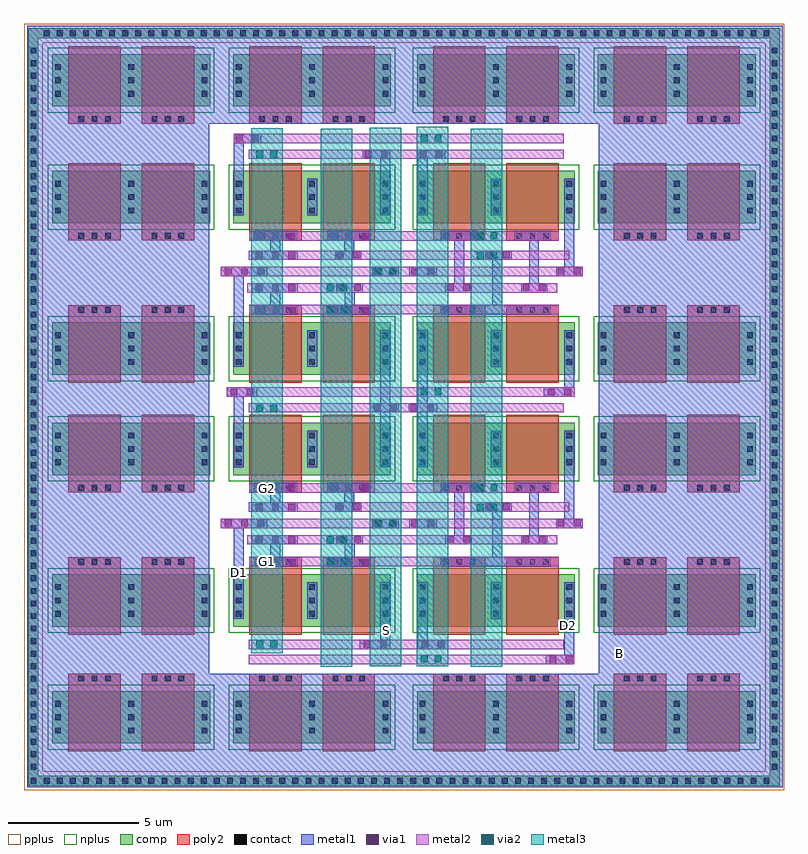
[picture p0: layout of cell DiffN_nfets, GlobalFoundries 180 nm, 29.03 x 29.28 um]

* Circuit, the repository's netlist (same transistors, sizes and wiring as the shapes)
** sch_path: /home/gmaranhao/Desktop/Bracolin/TIA_Filter/PseudoResistor/DiffN_nfets.sch
.subckt DiffN_nfets D1 D2 G1 G2 S B
*.PININFO D1:B D2:B G1:B G2:B S:B B:B
M1 D1 G1 net1 B nfet_03v3 L=2u W=2u nf=1 m=1
M2 D2 G2 net5 B nfet_03v3 L=2u W=2u nf=1 m=1
M3 D1 G1 net2 B nfet_03v3 L=2u W=2u nf=1 m=1
M4 D1 G1 net3 B nfet_03v3 L=2u W=2u nf=1 m=1
M5 D1 G1 net4 B nfet_03v3 L=2u W=2u nf=1 m=1
M6 net1 G1 S B nfet_03v3 L=2u W=2u nf=1 m=1
M7 net2 G1 S B nfet_03v3 L=2u W=2u nf=1 m=1
M8 net3 G1 S B nfet_03v3 L=2u W=2u nf=1 m=1
M9 net4 G1 S B nfet_03v3 L=2u W=2u nf=1 m=1
M10 D2 G2 net6 B nfet_03v3 L=2u W=2u nf=1 m=1
M11 D2 G2 net7 B nfet_03v3 L=2u W=2u nf=1 m=1
M12 D2 G2 net8 B nfet_03v3 L=2u W=2u nf=1 m=1
M13 net5 G2 S B nfet_03v3 L=2u W=2u nf=1 m=1
M14 net6 G2 S B nfet_03v3 L=2u W=2u nf=1 m=1
M15 net7 G2 S B nfet_03v3 L=2u W=2u nf=1 m=1
M16 net8 G2 S B nfet_03v3 L=2u W=2u nf=1 m=1
M17[1] B B B B nfet_03v3 L=2u W=2u nf=1 m=1
M17[2] B B B B nfet_03v3 L=2u W=2u nf=1 m=1
M17[3] B B B B nfet_03v3 L=2u W=2u nf=1 m=1
M17[4] B B B B nfet_03v3 L=2u W=2u nf=1 m=1
M17[5] B B B B nfet_03v3 L=2u W=2u nf=1 m=1
M17[6] B B B B nfet_03v3 L=2u W=2u nf=1 m=1
M17[7] B B B B nfet_03v3 L=2u W=2u nf=1 m=1
M17[8] B B B B nfet_03v3 L=2u W=2u nf=1 m=1
M17[9] B B B B nfet_03v3 L=2u W=2u nf=1 m=1
M17[10] B B B B nfet_03v3 L=2u W=2u nf=1 m=1
M17[11] B B B B nfet_03v3 L=2u W=2u nf=1 m=1
M17[12] B B B B nfet_03v3 L=2u W=2u nf=1 m=1
M17[13] B B B B nfet_03v3 L=2u W=2u nf=1 m=1
M17[14] B B B B nfet_03v3 L=2u W=2u nf=1 m=1
M17[15] B B B B nfet_03v3 L=2u W=2u nf=1 m=1
M17[16] B B B B nfet_03v3 L=2u W=2u nf=1 m=1
M17[17] B B B B nfet_03v3 L=2u W=2u nf=1 m=1
M17[18] B B B B nfet_03v3 L=2u W=2u nf=1 m=1
M17[19] B B B B nfet_03v3 L=2u W=2u nf=1 m=1
M17[20] B B B B nfet_03v3 L=2u W=2u nf=1 m=1
M17[21] B B B B nfet_03v3 L=2u W=2u nf=1 m=1
M17[22] B B B B nfet_03v3 L=2u W=2u nf=1 m=1
M17[23] B B B B nfet_03v3 L=2u W=2u nf=1 m=1
M17[24] B B B B nfet_03v3 L=2u W=2u nf=1 m=1
M17[25] B B B B nfet_03v3 L=2u W=2u nf=1 m=1
M17[26] B B B B nfet_03v3 L=2u W=2u nf=1 m=1
M17[27] B B B B nfet_03v3 L=2u W=2u nf=1 m=1
M17[28] B B B B nfet_03v3 L=2u W=2u nf=1 m=1
M17[29] B B B B nfet_03v3 L=2u W=2u nf=1 m=1
M17[30] B B B B nfet_03v3 L=2u W=2u nf=1 m=1
M17[31] B B B B nfet_03v3 L=2u W=2u nf=1 m=1
M17[32] B B B B nfet_03v3 L=2u W=2u nf=1 m=1
.ends
.end

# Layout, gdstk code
import gdstk
lib = gdstk.Library(unit=1e-6, precision=1e-09)
def R(c, l, rs):  # rectangles x0, y0, x1, y1
    for r in rs: c.add(gdstk.rectangle(r[:2], r[2:], *l))
def A(c, l, x, y, w, h, nx, ny, dx, dy):  # array of equal rectangles
    R(c, l, [(x+i*dx, y+j*dy, x+i*dx+w, y+j*dy+h) for i in range(nx) for j in range(ny)])
comp = (22, 0)
poly2 = (30, 0)
pplus = (31, 0)
nplus = (32, 0)
contact = (33, 0)
metal1 = (34, 0)
via1 = (35, 0)
metal2 = (36, 0)
via2 = (38, 0)
metal3 = (42, 0)

nfet = lib.new_cell('nfet')
R(nfet, comp, [(-0.42,0,0,2), (0,0,2.38,2), (2.38,0,2.8,2)])
R(nfet, poly2, [(0.19,-0.3,2.19,2.3), (0.19,2.3,2.19,2.66)])
R(nfet, nplus, [(-0.59,-0.24,2.97,2.24)])
A(nfet, contact, -0.32, 0.38, 0.22, 0.22, 1, 3, 0, 0.51)
A(nfet, contact, 2.48, 0.38, 0.22, 0.22, 1, 3, 0, 0.51)
A(nfet, contact, 0.57, 2.37, 0.22, 0.22, 3, 1, 0.51, 0)
R(nfet, metal1, [(-0.4,0.3,-0.02,1.7), (2.4,0.3,2.78,1.7), (0.49,2.29,1.89,2.67)])

diffn_nfets = lib.new_cell('DiffN_nfets')
R(diffn_nfets, comp, [(-8.285,-6.28,20.405,-5.9), (-8.285,-5.9,-7.905,22.66), (20.025,-5.9,20.405,22.66), (-8.285,22.28,20.405,22.66)])
R(diffn_nfets, pplus, [(-8.455,-6.45,20.575,-5.73), (-8.455,-6.075,-7.735,22.83), (19.855,-6.075,20.575,22.83), (-8.455,22.11,20.575,22.83)])
A(diffn_nfets, contact, -8.2, -6.2, 0.22, 0.22, 57, 1, 0.5, 0)
A(diffn_nfets, contact, -8.205, -5.665, 0.22, 0.22, 1, 58, 0, 0.48)
A(diffn_nfets, contact, 20.105, -5.665, 0.22, 0.22, 1, 58, 0, 0.48)
A(diffn_nfets, contact, -7.7, 22.36, 0.22, 0.22, 56, 1, 0.5, 0)
R(diffn_nfets, contact, [(-8.205,21.695,-7.985,21.915)])
R(diffn_nfets, metal1, [(-8.325,-6.335,-1.37,22.75), (-1.765,-6.335,20.535,-1.99), (13.49,-4.36,20.535,21.37), (11.465,-1.63,12.56,-1.275), (12.18,-1.565,12.56,0.58), (4.37,-1.055,5.54,-0.7), (6.58,-1.055,7.75,-0.7), (5.16,-1.04,5.54,1.105), (6.58,-0.995,6.96,0.705), (-0.44,1.48,-0.06,3.805), (0.36,2.09,2.01,2.47), (0.96,2.09,1.34,3.185), (3.135,2.09,4.785,2.47), (3.795,2.09,4.175,3.295), (8.795,2.09,10.705,2.47), (9.43,2.125,9.81,4.265), (0.245,2.94,2.01,3.295), (3.475,2.94,4.485,3.295), (3.475,2.94,4.485,3.295), (3.475,2.94,4.485,3.295), (7.645,2.94,8.655,3.295), (7.645,2.94,8.655,3.295), (7.645,2.94,8.655,3.295), (10.53,2.94,11.54,3.295), (10.53,2.94,11.54,3.295), (10.53,2.94,11.54,3.295), (7.975,3.155,8.355,5.295), (10.835,3.24,11.215,5.3), (-0.935,3.565,0.83,3.92), (4.85,3.565,5.86,3.92), (4.85,3.565,5.86,3.92), (4.85,3.565,5.86,3.92), (6.26,3.565,7.32,3.92), (11.87,3.565,12.88,3.92), (11.87,3.565,12.88,3.92), (11.87,3.565,12.88,3.92), (12.18,3.87,12.56,6.195), (12.18,3.87,12.56,6.195), (0.245,4.19,2.01,4.545), (3.425,4.19,4.435,4.545), (3.425,4.19,4.435,4.545), (3.425,4.19,4.435,4.545), (9.16,4.19,10.17,4.545), (9.16,4.19,10.17,4.545), (9.16,4.19,10.17,4.545), (0.96,4.195,1.34,5.29), (3.78,4.195,4.16,5.29), (0.33,4.92,1.98,5.3), (3.135,4.92,4.785,5.3), (-0.44,7.25,-0.06,8.905), (5.16,7.265,5.54,8.3), (6.58,7.265,6.96,9.79), (4.75,7.98,5.865,8.335), (6.25,7.98,7.335,8.335), (5.16,8.275,5.54,9.82), (-0.715,8.585,0.455,8.94), (11.405,8.585,12.575,8.94), (12.18,8.595,12.56,9.825), (-0.44,11.1,-0.06,13.425), (0.36,11.71,2.01,12.09), (0.96,11.71,1.34,12.805), (3.135,11.71,4.785,12.09), (3.795,11.71,4.175,12.915), (8.795,11.71,10.705,12.09), (9.43,11.745,9.81,13.885), (0.245,12.56,2.01,12.915), (3.475,12.56,4.485,12.915), (3.475,12.56,4.485,12.915), (3.475,12.56,4.485,12.915), (7.645,12.56,8.655,12.915), (7.645,12.56,8.655,12.915), (7.645,12.56,8.655,12.915), (10.53,12.56,11.54,12.915), (10.53,12.56,11.54,12.915), (10.53,12.56,11.54,12.915), (7.975,12.775,8.355,14.915), (10.835,12.86,11.215,14.92), (-0.935,13.185,0.83,13.54), (4.85,13.185,5.86,13.54), (4.85,13.185,5.86,13.54), (4.85,13.185,5.86,13.54), (6.26,13.185,7.32,13.54), (11.87,13.185,12.88,13.54), (11.87,13.185,12.88,13.54), (11.87,13.185,12.88,13.54), (12.18,13.49,12.56,15.815), (12.18,13.49,12.56,15.815), (0.245,13.81,2.01,14.165), (3.425,13.81,4.435,14.165), (3.425,13.81,4.435,14.165), (3.425,13.81,4.435,14.165), (9.16,13.81,10.17,14.165), (9.16,13.81,10.17,14.165), (9.16,13.81,10.17,14.165), (0.96,13.815,1.34,14.91), (3.78,13.815,4.16,14.91), (0.33,14.54,1.98,14.92), (3.135,14.54,4.785,14.92), (-0.44,16.88,-0.06,18.39), (5.16,16.88,5.54,17.865), (6.58,16.88,6.96,17.865), (4.485,17.665,5.54,18.02), (6.58,17.665,7.635,18.02), (-0.44,18.27,0.615,18.625), (-1.765,19,20.535,22.75)])
R(diffn_nfets, via1, [(11.62,-1.58,11.88,-1.32), (11.62,-1.58,11.88,-1.32), (11.62,-1.58,11.88,-1.32), (11.62,-1.58,11.88,-1.32), (11.62,-1.58,11.88,-1.32), (11.62,-1.58,11.88,-1.32), (11.62,-1.58,11.88,-1.32), (11.62,-1.58,11.88,-1.32), (12.24,-1.58,12.5,-1.32), (12.24,-1.58,12.5,-1.32), (12.24,-1.58,12.5,-1.32), (12.24,-1.58,12.5,-1.32), (12.24,-1.58,12.5,-1.32), (12.24,-1.58,12.5,-1.32), (12.24,-1.58,12.5,-1.32), (12.24,-1.58,12.5,-1.32), (4.525,-1.005,4.785,-0.745), (4.525,-1.005,4.785,-0.745), (4.525,-1.005,4.785,-0.745), (4.525,-1.005,4.785,-0.745), (4.525,-1.005,4.785,-0.745), (4.525,-1.005,4.785,-0.745), (4.525,-1.005,4.785,-0.745), (4.525,-1.005,4.785,-0.745), (5.145,-1.005,5.405,-0.745), (5.145,-1.005,5.405,-0.745), (5.145,-1.005,5.405,-0.745), (5.145,-1.005,5.405,-0.745), (5.145,-1.005,5.405,-0.745), (5.145,-1.005,5.405,-0.745), (5.145,-1.005,5.405,-0.745), (5.145,-1.005,5.405,-0.745), (6.735,-1.005,6.995,-0.745), (6.735,-1.005,6.995,-0.745), (6.735,-1.005,6.995,-0.745), (6.735,-1.005,6.995,-0.745), (6.735,-1.005,6.995,-0.745), (6.735,-1.005,6.995,-0.745), (6.735,-1.005,6.995,-0.745), (6.735,-1.005,6.995,-0.745), (7.355,-1.005,7.615,-0.745), (7.355,-1.005,7.615,-0.745), (7.355,-1.005,7.615,-0.745), (7.355,-1.005,7.615,-0.745), (7.355,-1.005,7.615,-0.745), (7.355,-1.005,7.615,-0.745), (7.355,-1.005,7.615,-0.745), (7.355,-1.005,7.615,-0.745), (0.43,2.14,0.69,2.4), (0.43,2.14,0.69,2.4), (0.43,2.14,0.69,2.4), (0.43,2.14,0.69,2.4), (0.43,2.14,0.69,2.4), (0.43,2.14,0.69,2.4), (0.43,2.14,0.69,2.4), (0.43,2.14,0.69,2.4), (1.05,2.14,1.31,2.4), (1.05,2.14,1.31,2.4), (1.05,2.14,1.31,2.4), (1.05,2.14,1.31,2.4), (1.05,2.14,1.31,2.4), (1.05,2.14,1.31,2.4), (1.05,2.14,1.31,2.4), (1.05,2.14,1.31,2.4), (1.67,2.14,1.93,2.4), (1.67,2.14,1.93,2.4), (1.67,2.14,1.93,2.4), (1.67,2.14,1.93,2.4), (1.67,2.14,1.93,2.4), (1.67,2.14,1.93,2.4), (1.67,2.14,1.93,2.4), (1.67,2.14,1.93,2.4), (3.205,2.14,3.465,2.4), (3.205,2.14,3.465,2.4), (3.205,2.14,3.465,2.4), (3.205,2.14,3.465,2.4), (3.205,2.14,3.465,2.4), (3.205,2.14,3.465,2.4), (3.205,2.14,3.465,2.4), (3.205,2.14,3.465,2.4), (3.825,2.14,4.085,2.4), (3.825,2.14,4.085,2.4), (3.825,2.14,4.085,2.4), (3.825,2.14,4.085,2.4), (3.825,2.14,4.085,2.4), (3.825,2.14,4.085,2.4), (3.825,2.14,4.085,2.4), (3.825,2.14,4.085,2.4), (4.445,2.14,4.705,2.4), (4.445,2.14,4.705,2.4), (4.445,2.14,4.705,2.4), (4.445,2.14,4.705,2.4), (4.445,2.14,4.705,2.4), (4.445,2.14,4.705,2.4), (4.445,2.14,4.705,2.4), (4.445,2.14,4.705,2.4), (0.4,2.99,0.66,3.25), (0.4,2.99,0.66,3.25), (0.4,2.99,0.66,3.25), (0.4,2.99,0.66,3.25), (0.4,2.99,0.66,3.25), (0.4,2.99,0.66,3.25), (0.4,2.99,0.66,3.25), (0.4,2.99,0.66,3.25), (1.02,2.99,1.28,3.25), (1.02,2.99,1.28,3.25), (1.02,2.99,1.28,3.25), (1.02,2.99,1.28,3.25), (1.02,2.99,1.28,3.25), (1.02,2.99,1.28,3.25), (1.02,2.99,1.28,3.25), (1.02,2.99,1.28,3.25), (1.64,2.99,1.9,3.25), (1.64,2.99,1.9,3.25), (1.64,2.99,1.9,3.25), (1.64,2.99,1.9,3.25), (1.64,2.99,1.9,3.25), (1.64,2.99,1.9,3.25), (1.64,2.99,1.9,3.25), (1.64,2.99,1.9,3.25), (3.535,3.005,3.795,3.265), (4.155,3.005,4.415,3.265), (7.705,3.005,7.965,3.265), (8.325,3.005,8.585,3.265), (10.59,3.005,10.85,3.265), (11.21,3.005,11.47,3.265), (-0.78,3.615,-0.52,3.875), (-0.78,3.615,-0.52,3.875), (-0.78,3.615,-0.52,3.875), (-0.78,3.615,-0.52,3.875), (-0.78,3.615,-0.52,3.875), (-0.78,3.615,-0.52,3.875), (-0.78,3.615,-0.52,3.875), (-0.78,3.615,-0.52,3.875), (-0.16,3.615,0.1,3.875), (-0.16,3.615,0.1,3.875), (-0.16,3.615,0.1,3.875), (-0.16,3.615,0.1,3.875), (-0.16,3.615,0.1,3.875), (-0.16,3.615,0.1,3.875), (-0.16,3.615,0.1,3.875), (-0.16,3.615,0.1,3.875), (0.46,3.615,0.72,3.875), (0.46,3.615,0.72,3.875), (0.46,3.615,0.72,3.875), (0.46,3.615,0.72,3.875), (0.46,3.615,0.72,3.875), (0.46,3.615,0.72,3.875), (0.46,3.615,0.72,3.875), (0.46,3.615,0.72,3.875), (6.33,3.615,6.59,3.875), (6.33,3.615,6.59,3.875), (6.33,3.615,6.59,3.875), (6.33,3.615,6.59,3.875), (6.33,3.615,6.59,3.875), (6.33,3.615,6.59,3.875), (6.33,3.615,6.59,3.875), (6.33,3.615,6.59,3.875), (6.95,3.615,7.21,3.875), (6.95,3.615,7.21,3.875), (6.95,3.615,7.21,3.875), (6.95,3.615,7.21,3.875), (6.95,3.615,7.21,3.875), (6.95,3.615,7.21,3.875), (6.95,3.615,7.21,3.875), (6.95,3.615,7.21,3.875), (4.91,3.63,5.17,3.89), (4.91,3.63,5.17,3.89), (5.53,3.63,5.79,3.89), (5.53,3.63,5.79,3.89), (11.93,3.63,12.19,3.89), (11.93,3.63,12.19,3.89), (12.55,3.63,12.81,3.89), (12.55,3.63,12.81,3.89), (0.4,4.24,0.66,4.5), (0.4,4.24,0.66,4.5), (0.4,4.24,0.66,4.5), (0.4,4.24,0.66,4.5), (0.4,4.24,0.66,4.5), (0.4,4.24,0.66,4.5), (0.4,4.24,0.66,4.5), (0.4,4.24,0.66,4.5), (1.02,4.24,1.28,4.5), (1.02,4.24,1.28,4.5), (1.02,4.24,1.28,4.5), (1.02,4.24,1.28,4.5), (1.02,4.24,1.28,4.5), (1.02,4.24,1.28,4.5), (1.02,4.24,1.28,4.5), (1.02,4.24,1.28,4.5), (1.64,4.24,1.9,4.5), (1.64,4.24,1.9,4.5), (1.64,4.24,1.9,4.5), (1.64,4.24,1.9,4.5), (1.64,4.24,1.9,4.5), (1.64,4.24,1.9,4.5), (1.64,4.24,1.9,4.5), (1.64,4.24,1.9,4.5), (3.485,4.255,3.745,4.515), (4.105,4.255,4.365,4.515), (9.22,4.255,9.48,4.515), (9.84,4.255,10.1,4.515), (0.4,4.97,0.66,5.23), (0.4,4.97,0.66,5.23), (0.4,4.97,0.66,5.23), (0.4,4.97,0.66,5.23), (0.4,4.97,0.66,5.23), (0.4,4.97,0.66,5.23), (0.4,4.97,0.66,5.23), (0.4,4.97,0.66,5.23), (1.02,4.97,1.28,5.23), (1.02,4.97,1.28,5.23), (1.02,4.97,1.28,5.23), (1.02,4.97,1.28,5.23), (1.02,4.97,1.28,5.23), (1.02,4.97,1.28,5.23), (1.02,4.97,1.28,5.23), (1.02,4.97,1.28,5.23), (1.64,4.97,1.9,5.23), (1.64,4.97,1.9,5.23), (1.64,4.97,1.9,5.23), (1.64,4.97,1.9,5.23), (1.64,4.97,1.9,5.23), (1.64,4.97,1.9,5.23), (1.64,4.97,1.9,5.23), (1.64,4.97,1.9,5.23), (3.205,4.97,3.465,5.23), (3.205,4.97,3.465,5.23), (3.205,4.97,3.465,5.23), (3.205,4.97,3.465,5.23), (3.205,4.97,3.465,5.23), (3.205,4.97,3.465,5.23), (3.205,4.97,3.465,5.23), (3.205,4.97,3.465,5.23), (3.825,4.97,4.085,5.23), (3.825,4.97,4.085,5.23), (3.825,4.97,4.085,5.23), (3.825,4.97,4.085,5.23), (3.825,4.97,4.085,5.23), (3.825,4.97,4.085,5.23), (3.825,4.97,4.085,5.23), (3.825,4.97,4.085,5.23), (4.445,4.97,4.705,5.23), (4.445,4.97,4.705,5.23), (4.445,4.97,4.705,5.23), (4.445,4.97,4.705,5.23), (4.445,4.97,4.705,5.23), (4.445,4.97,4.705,5.23), (4.445,4.97,4.705,5.23), (4.445,4.97,4.705,5.23), (4.905,8.03,5.165,8.29), (4.905,8.03,5.165,8.29), (4.905,8.03,5.165,8.29), (4.905,8.03,5.165,8.29), (4.905,8.03,5.165,8.29), (4.905,8.03,5.165,8.29), (4.905,8.03,5.165,8.29), (4.905,8.03,5.165,8.29), (5.525,8.03,5.785,8.29), (5.525,8.03,5.785,8.29), (5.525,8.03,5.785,8.29), (5.525,8.03,5.785,8.29), (5.525,8.03,5.785,8.29), (5.525,8.03,5.785,8.29), (5.525,8.03,5.785,8.29), (5.525,8.03,5.785,8.29), (6.32,8.03,6.58,8.29), (6.32,8.03,6.58,8.29), (6.32,8.03,6.58,8.29), (6.32,8.03,6.58,8.29), (6.32,8.03,6.58,8.29), (6.32,8.03,6.58,8.29), (6.32,8.03,6.58,8.29), (6.32,8.03,6.58,8.29), (6.94,8.03,7.2,8.29), (6.94,8.03,7.2,8.29), (6.94,8.03,7.2,8.29), (6.94,8.03,7.2,8.29), (6.94,8.03,7.2,8.29), (6.94,8.03,7.2,8.29), (6.94,8.03,7.2,8.29), (6.94,8.03,7.2,8.29), (-0.56,8.635,-0.3,8.895), (-0.56,8.635,-0.3,8.895), (-0.56,8.635,-0.3,8.895), (-0.56,8.635,-0.3,8.895), (-0.56,8.635,-0.3,8.895), (-0.56,8.635,-0.3,8.895), (-0.56,8.635,-0.3,8.895), (-0.56,8.635,-0.3,8.895), (0.06,8.635,0.32,8.895), (0.06,8.635,0.32,8.895), (0.06,8.635,0.32,8.895), (0.06,8.635,0.32,8.895), (0.06,8.635,0.32,8.895), (0.06,8.635,0.32,8.895), (0.06,8.635,0.32,8.895), (0.06,8.635,0.32,8.895), (11.56,8.635,11.82,8.895), (11.56,8.635,11.82,8.895), (11.56,8.635,11.82,8.895), (11.56,8.635,11.82,8.895), (11.56,8.635,11.82,8.895), (11.56,8.635,11.82,8.895), (11.56,8.635,11.82,8.895), (11.56,8.635,11.82,8.895), (12.18,8.635,12.44,8.895), (12.18,8.635,12.44,8.895), (12.18,8.635,12.44,8.895), (12.18,8.635,12.44,8.895), (12.18,8.635,12.44,8.895), (12.18,8.635,12.44,8.895), (12.18,8.635,12.44,8.895), (12.18,8.635,12.44,8.895), (0.43,11.76,0.69,12.02), (0.43,11.76,0.69,12.02), (0.43,11.76,0.69,12.02), (0.43,11.76,0.69,12.02), (0.43,11.76,0.69,12.02), (0.43,11.76,0.69,12.02), (0.43,11.76,0.69,12.02), (0.43,11.76,0.69,12.02), (1.05,11.76,1.31,12.02), (1.05,11.76,1.31,12.02), (1.05,11.76,1.31,12.02), (1.05,11.76,1.31,12.02), (1.05,11.76,1.31,12.02), (1.05,11.76,1.31,12.02), (1.05,11.76,1.31,12.02), (1.05,11.76,1.31,12.02), (1.67,11.76,1.93,12.02), (1.67,11.76,1.93,12.02), (1.67,11.76,1.93,12.02), (1.67,11.76,1.93,12.02), (1.67,11.76,1.93,12.02), (1.67,11.76,1.93,12.02), (1.67,11.76,1.93,12.02), (1.67,11.76,1.93,12.02), (3.205,11.76,3.465,12.02), (3.205,11.76,3.465,12.02), (3.205,11.76,3.465,12.02), (3.205,11.76,3.465,12.02), (3.205,11.76,3.465,12.02), (3.205,11.76,3.465,12.02), (3.205,11.76,3.465,12.02), (3.205,11.76,3.465,12.02), (3.825,11.76,4.085,12.02), (3.825,11.76,4.085,12.02), (3.825,11.76,4.085,12.02), (3.825,11.76,4.085,12.02), (3.825,11.76,4.085,12.02), (3.825,11.76,4.085,12.02), (3.825,11.76,4.085,12.02), (3.825,11.76,4.085,12.02), (4.445,11.76,4.705,12.02), (4.445,11.76,4.705,12.02), (4.445,11.76,4.705,12.02), (4.445,11.76,4.705,12.02), (4.445,11.76,4.705,12.02), (4.445,11.76,4.705,12.02), (4.445,11.76,4.705,12.02), (4.445,11.76,4.705,12.02), (0.4,12.61,0.66,12.87), (0.4,12.61,0.66,12.87), (0.4,12.61,0.66,12.87), (0.4,12.61,0.66,12.87), (0.4,12.61,0.66,12.87), (0.4,12.61,0.66,12.87), (0.4,12.61,0.66,12.87), (0.4,12.61,0.66,12.87), (1.02,12.61,1.28,12.87), (1.02,12.61,1.28,12.87), (1.02,12.61,1.28,12.87), (1.02,12.61,1.28,12.87), (1.02,12.61,1.28,12.87), (1.02,12.61,1.28,12.87), (1.02,12.61,1.28,12.87), (1.02,12.61,1.28,12.87), (1.64,12.61,1.9,12.87), (1.64,12.61,1.9,12.87), (1.64,12.61,1.9,12.87), (1.64,12.61,1.9,12.87), (1.64,12.61,1.9,12.87), (1.64,12.61,1.9,12.87), (1.64,12.61,1.9,12.87), (1.64,12.61,1.9,12.87), (3.535,12.625,3.795,12.885), (4.155,12.625,4.415,12.885), (7.705,12.625,7.965,12.885), (8.325,12.625,8.585,12.885), (10.59,12.625,10.85,12.885), (11.21,12.625,11.47,12.885), (-0.78,13.235,-0.52,13.495), (-0.78,13.235,-0.52,13.495), (-0.78,13.235,-0.52,13.495), (-0.78,13.235,-0.52,13.495), (-0.78,13.235,-0.52,13.495), (-0.78,13.235,-0.52,13.495), (-0.78,13.235,-0.52,13.495), (-0.78,13.235,-0.52,13.495), (-0.16,13.235,0.1,13.495), (-0.16,13.235,0.1,13.495), (-0.16,13.235,0.1,13.495), (-0.16,13.235,0.1,13.495), (-0.16,13.235,0.1,13.495), (-0.16,13.235,0.1,13.495), (-0.16,13.235,0.1,13.495), (-0.16,13.235,0.1,13.495), (0.46,13.235,0.72,13.495), (0.46,13.235,0.72,13.495), (0.46,13.235,0.72,13.495), (0.46,13.235,0.72,13.495), (0.46,13.235,0.72,13.495), (0.46,13.235,0.72,13.495), (0.46,13.235,0.72,13.495), (0.46,13.235,0.72,13.495), (6.33,13.235,6.59,13.495), (6.33,13.235,6.59,13.495), (6.33,13.235,6.59,13.495), (6.33,13.235,6.59,13.495), (6.33,13.235,6.59,13.495), (6.33,13.235,6.59,13.495), (6.33,13.235,6.59,13.495), (6.33,13.235,6.59,13.495), (6.95,13.235,7.21,13.495), (6.95,13.235,7.21,13.495), (6.95,13.235,7.21,13.495), (6.95,13.235,7.21,13.495), (6.95,13.235,7.21,13.495), (6.95,13.235,7.21,13.495), (6.95,13.235,7.21,13.495), (6.95,13.235,7.21,13.495), (4.91,13.25,5.17,13.51), (4.91,13.25,5.17,13.51), (5.53,13.25,5.79,13.51), (5.53,13.25,5.79,13.51), (11.93,13.25,12.19,13.51), (11.93,13.25,12.19,13.51), (12.55,13.25,12.81,13.51), (12.55,13.25,12.81,13.51), (0.4,13.86,0.66,14.12), (0.4,13.86,0.66,14.12), (0.4,13.86,0.66,14.12), (0.4,13.86,0.66,14.12), (0.4,13.86,0.66,14.12), (0.4,13.86,0.66,14.12), (0.4,13.86,0.66,14.12), (0.4,13.86,0.66,14.12), (1.02,13.86,1.28,14.12), (1.02,13.86,1.28,14.12), (1.02,13.86,1.28,14.12), (1.02,13.86,1.28,14.12), (1.02,13.86,1.28,14.12), (1.02,13.86,1.28,14.12), (1.02,13.86,1.28,14.12), (1.02,13.86,1.28,14.12), (1.64,13.86,1.9,14.12), (1.64,13.86,1.9,14.12), (1.64,13.86,1.9,14.12), (1.64,13.86,1.9,14.12), (1.64,13.86,1.9,14.12), (1.64,13.86,1.9,14.12), (1.64,13.86,1.9,14.12), (1.64,13.86,1.9,14.12), (3.485,13.875,3.745,14.135), (4.105,13.875,4.365,14.135), (9.22,13.875,9.48,14.135), (9.84,13.875,10.1,14.135), (0.4,14.59,0.66,14.85), (0.4,14.59,0.66,14.85), (0.4,14.59,0.66,14.85), (0.4,14.59,0.66,14.85), (0.4,14.59,0.66,14.85), (0.4,14.59,0.66,14.85), (0.4,14.59,0.66,14.85), (0.4,14.59,0.66,14.85), (1.02,14.59,1.28,14.85), (1.02,14.59,1.28,14.85), (1.02,14.59,1.28,14.85), (1.02,14.59,1.28,14.85), (1.02,14.59,1.28,14.85), (1.02,14.59,1.28,14.85), (1.02,14.59,1.28,14.85), (1.02,14.59,1.28,14.85), (1.64,14.59,1.9,14.85), (1.64,14.59,1.9,14.85), (1.64,14.59,1.9,14.85), (1.64,14.59,1.9,14.85), (1.64,14.59,1.9,14.85), (1.64,14.59,1.9,14.85), (1.64,14.59,1.9,14.85), (1.64,14.59,1.9,14.85), (3.205,14.59,3.465,14.85), (3.205,14.59,3.465,14.85), (3.205,14.59,3.465,14.85), (3.205,14.59,3.465,14.85), (3.205,14.59,3.465,14.85), (3.205,14.59,3.465,14.85), (3.205,14.59,3.465,14.85), (3.205,14.59,3.465,14.85), (3.825,14.59,4.085,14.85), (3.825,14.59,4.085,14.85), (3.825,14.59,4.085,14.85), (3.825,14.59,4.085,14.85), (3.825,14.59,4.085,14.85), (3.825,14.59,4.085,14.85), (3.825,14.59,4.085,14.85), (3.825,14.59,4.085,14.85), (4.445,14.59,4.705,14.85), (4.445,14.59,4.705,14.85), (4.445,14.59,4.705,14.85), (4.445,14.59,4.705,14.85), (4.445,14.59,4.705,14.85), (4.445,14.59,4.705,14.85), (4.445,14.59,4.705,14.85), (4.445,14.59,4.705,14.85), (4.565,17.715,4.825,17.975), (4.565,17.715,4.825,17.975), (4.565,17.715,4.825,17.975), (4.565,17.715,4.825,17.975), (4.565,17.715,4.825,17.975), (4.565,17.715,4.825,17.975), (4.565,17.715,4.825,17.975), (4.565,17.715,4.825,17.975), (5.185,17.715,5.445,17.975), (5.185,17.715,5.445,17.975), (5.185,17.715,5.445,17.975), (5.185,17.715,5.445,17.975), (5.185,17.715,5.445,17.975), (5.185,17.715,5.445,17.975), (5.185,17.715,5.445,17.975), (5.185,17.715,5.445,17.975), (6.66,17.715,6.92,17.975), (6.66,17.715,6.92,17.975), (6.66,17.715,6.92,17.975), (6.66,17.715,6.92,17.975), (6.66,17.715,6.92,17.975), (6.66,17.715,6.92,17.975), (6.66,17.715,6.92,17.975), (6.66,17.715,6.92,17.975), (7.28,17.715,7.54,17.975), (7.28,17.715,7.54,17.975), (7.28,17.715,7.54,17.975), (7.28,17.715,7.54,17.975), (7.28,17.715,7.54,17.975), (7.28,17.715,7.54,17.975), (7.28,17.715,7.54,17.975), (7.28,17.715,7.54,17.975), (-0.36,18.32,-0.1,18.58), (-0.36,18.32,-0.1,18.58), (-0.36,18.32,-0.1,18.58), (-0.36,18.32,-0.1,18.58), (-0.36,18.32,-0.1,18.58), (-0.36,18.32,-0.1,18.58), (-0.36,18.32,-0.1,18.58), (-0.36,18.32,-0.1,18.58), (0.26,18.32,0.52,18.58), (0.26,18.32,0.52,18.58), (0.26,18.32,0.52,18.58), (0.26,18.32,0.52,18.58), (0.26,18.32,0.52,18.58), (0.26,18.32,0.52,18.58), (0.26,18.32,0.52,18.58), (0.26,18.32,0.52,18.58)])
R(diffn_nfets, metal2, [(0.13,-1.63,12.57,-1.275), (0.13,-1.055,12.165,-0.7), (0.15,2.115,11.97,2.47), (0.07,2.94,11.92,3.295), (-0.935,3.565,12.885,3.92), (0.13,3.565,12.375,3.92), (0.13,4.19,12.375,4.545), (0.15,4.92,11.97,5.275), (0.13,7.98,12.165,8.335), (-0.715,8.585,12.575,8.94), (0.15,11.735,11.97,12.09), (0.07,12.56,11.92,12.915), (-0.935,13.185,12.885,13.54), (0.13,13.185,12.375,13.54), (0.13,13.81,12.375,14.165), (0.15,14.54,11.97,14.895), (0.13,17.665,12.165,18.02), (-0.445,18.27,12.165,18.625)])
R(diffn_nfets, via2, [(6.7,-1.565,6.96,-1.305), (6.7,-1.565,6.96,-1.305), (6.7,-1.565,6.96,-1.305), (6.7,-1.565,6.96,-1.305), (6.7,-1.565,6.96,-1.305), (6.7,-1.565,6.96,-1.305), (6.7,-1.565,6.96,-1.305), (6.7,-1.565,6.96,-1.305), (7.23,-1.565,7.49,-1.305), (7.23,-1.565,7.49,-1.305), (7.23,-1.565,7.49,-1.305), (7.23,-1.565,7.49,-1.305), (7.23,-1.565,7.49,-1.305), (7.23,-1.565,7.49,-1.305), (7.23,-1.565,7.49,-1.305), (7.23,-1.565,7.49,-1.305), (0.42,-1,0.68,-0.74), (0.42,-1,0.68,-0.74), (0.42,-1,0.68,-0.74), (0.42,-1,0.68,-0.74), (0.42,-1,0.68,-0.74), (0.42,-1,0.68,-0.74), (0.42,-1,0.68,-0.74), (0.42,-1,0.68,-0.74), (0.95,-1,1.21,-0.74), (0.95,-1,1.21,-0.74), (0.95,-1,1.21,-0.74), (0.95,-1,1.21,-0.74), (0.95,-1,1.21,-0.74), (0.95,-1,1.21,-0.74), (0.95,-1,1.21,-0.74), (0.95,-1,1.21,-0.74), (3.11,2.17,3.37,2.43), (3.11,2.17,3.37,2.43), (3.11,2.17,3.37,2.43), (3.11,2.17,3.37,2.43), (3.11,2.17,3.37,2.43), (3.11,2.17,3.37,2.43), (3.11,2.17,3.37,2.43), (3.11,2.17,3.37,2.43), (3.64,2.17,3.9,2.43), (3.64,2.17,3.9,2.43), (3.64,2.17,3.9,2.43), (3.64,2.17,3.9,2.43), (3.64,2.17,3.9,2.43), (3.64,2.17,3.9,2.43), (3.64,2.17,3.9,2.43), (3.64,2.17,3.9,2.43), (3.11,2.995,3.37,3.255), (3.11,2.995,3.37,3.255), (3.11,2.995,3.37,3.255), (3.11,2.995,3.37,3.255), (3.11,2.995,3.37,3.255), (3.11,2.995,3.37,3.255), (3.11,2.995,3.37,3.255), (3.11,2.995,3.37,3.255), (3.64,2.995,3.9,3.255), (3.64,2.995,3.9,3.255), (3.64,2.995,3.9,3.255), (3.64,2.995,3.9,3.255), (3.64,2.995,3.9,3.255), (3.64,2.995,3.9,3.255), (3.64,2.995,3.9,3.255), (3.64,2.995,3.9,3.255), (4.96,3.61,5.22,3.87), (4.96,3.61,5.22,3.87), (4.96,3.61,5.22,3.87), (4.96,3.61,5.22,3.87), (4.96,3.61,5.22,3.87), (4.96,3.61,5.22,3.87), (4.96,3.61,5.22,3.87), (4.96,3.61,5.22,3.87), (5.49,3.61,5.75,3.87), (5.49,3.61,5.75,3.87), (5.49,3.61,5.75,3.87), (5.49,3.61,5.75,3.87), (5.49,3.61,5.75,3.87), (5.49,3.61,5.75,3.87), (5.49,3.61,5.75,3.87), (5.49,3.61,5.75,3.87), (8.84,4.225,9.1,4.485), (8.84,4.225,9.1,4.485), (8.84,4.225,9.1,4.485), (8.84,4.225,9.1,4.485), (8.84,4.225,9.1,4.485), (8.84,4.225,9.1,4.485), (8.84,4.225,9.1,4.485), (8.84,4.225,9.1,4.485), (9.37,4.225,9.63,4.485), (9.37,4.225,9.63,4.485), (9.37,4.225,9.63,4.485), (9.37,4.225,9.63,4.485), (9.37,4.225,9.63,4.485), (9.37,4.225,9.63,4.485), (9.37,4.225,9.63,4.485), (9.37,4.225,9.63,4.485), (8.84,4.975,9.1,5.235), (8.84,4.975,9.1,5.235), (8.84,4.975,9.1,5.235), (8.84,4.975,9.1,5.235), (8.84,4.975,9.1,5.235), (8.84,4.975,9.1,5.235), (8.84,4.975,9.1,5.235), (8.84,4.975,9.1,5.235), (9.37,4.975,9.63,5.235), (9.37,4.975,9.63,5.235), (9.37,4.975,9.63,5.235), (9.37,4.975,9.63,5.235), (9.37,4.975,9.63,5.235), (9.37,4.975,9.63,5.235), (9.37,4.975,9.63,5.235), (9.37,4.975,9.63,5.235), (0.42,8.015,0.68,8.275), (0.42,8.015,0.68,8.275), (0.42,8.015,0.68,8.275), (0.42,8.015,0.68,8.275), (0.42,8.015,0.68,8.275), (0.42,8.015,0.68,8.275), (0.42,8.015,0.68,8.275), (0.42,8.015,0.68,8.275), (0.95,8.015,1.21,8.275), (0.95,8.015,1.21,8.275), (0.95,8.015,1.21,8.275), (0.95,8.015,1.21,8.275), (0.95,8.015,1.21,8.275), (0.95,8.015,1.21,8.275), (0.95,8.015,1.21,8.275), (0.95,8.015,1.21,8.275), (6.7,8.645,6.96,8.905), (6.7,8.645,6.96,8.905), (6.7,8.645,6.96,8.905), (6.7,8.645,6.96,8.905), (6.7,8.645,6.96,8.905), (6.7,8.645,6.96,8.905), (6.7,8.645,6.96,8.905), (6.7,8.645,6.96,8.905), (7.23,8.645,7.49,8.905), (7.23,8.645,7.49,8.905), (7.23,8.645,7.49,8.905), (7.23,8.645,7.49,8.905), (7.23,8.645,7.49,8.905), (7.23,8.645,7.49,8.905), (7.23,8.645,7.49,8.905), (7.23,8.645,7.49,8.905), (3.11,11.785,3.37,12.045), (3.11,11.785,3.37,12.045), (3.11,11.785,3.37,12.045), (3.11,11.785,3.37,12.045), (3.11,11.785,3.37,12.045), (3.11,11.785,3.37,12.045), (3.11,11.785,3.37,12.045), (3.11,11.785,3.37,12.045), (3.64,11.785,3.9,12.045), (3.64,11.785,3.9,12.045), (3.64,11.785,3.9,12.045), (3.64,11.785,3.9,12.045), (3.64,11.785,3.9,12.045), (3.64,11.785,3.9,12.045), (3.64,11.785,3.9,12.045), (3.64,11.785,3.9,12.045), (3.11,12.61,3.37,12.87), (3.11,12.61,3.37,12.87), (3.11,12.61,3.37,12.87), (3.11,12.61,3.37,12.87), (3.11,12.61,3.37,12.87), (3.11,12.61,3.37,12.87), (3.11,12.61,3.37,12.87), (3.11,12.61,3.37,12.87), (3.64,12.61,3.9,12.87), (3.64,12.61,3.9,12.87), (3.64,12.61,3.9,12.87), (3.64,12.61,3.9,12.87), (3.64,12.61,3.9,12.87), (3.64,12.61,3.9,12.87), (3.64,12.61,3.9,12.87), (3.64,12.61,3.9,12.87), (4.96,13.235,5.22,13.495), (4.96,13.235,5.22,13.495), (4.96,13.235,5.22,13.495), (4.96,13.235,5.22,13.495), (4.96,13.235,5.22,13.495), (4.96,13.235,5.22,13.495), (4.96,13.235,5.22,13.495), (4.96,13.235,5.22,13.495), (5.49,13.235,5.75,13.495), (5.49,13.235,5.75,13.495), (5.49,13.235,5.75,13.495), (5.49,13.235,5.75,13.495), (5.49,13.235,5.75,13.495), (5.49,13.235,5.75,13.495), (5.49,13.235,5.75,13.495), (5.49,13.235,5.75,13.495), (8.84,13.85,9.1,14.11), (8.84,13.85,9.1,14.11), (8.84,13.85,9.1,14.11), (8.84,13.85,9.1,14.11), (8.84,13.85,9.1,14.11), (8.84,13.85,9.1,14.11), (8.84,13.85,9.1,14.11), (8.84,13.85,9.1,14.11), (9.37,13.85,9.63,14.11), (9.37,13.85,9.63,14.11), (9.37,13.85,9.63,14.11), (9.37,13.85,9.63,14.11), (9.37,13.85,9.63,14.11), (9.37,13.85,9.63,14.11), (9.37,13.85,9.63,14.11), (9.37,13.85,9.63,14.11), (8.84,14.6,9.1,14.86), (8.84,14.6,9.1,14.86), (8.84,14.6,9.1,14.86), (8.84,14.6,9.1,14.86), (8.84,14.6,9.1,14.86), (8.84,14.6,9.1,14.86), (8.84,14.6,9.1,14.86), (8.84,14.6,9.1,14.86), (9.37,14.6,9.63,14.86), (9.37,14.6,9.63,14.86), (9.37,14.6,9.63,14.86), (9.37,14.6,9.63,14.86), (9.37,14.6,9.63,14.86), (9.37,14.6,9.63,14.86), (9.37,14.6,9.63,14.86), (9.37,14.6,9.63,14.86), (0.42,17.71,0.68,17.97), (0.42,17.71,0.68,17.97), (0.42,17.71,0.68,17.97), (0.42,17.71,0.68,17.97), (0.42,17.71,0.68,17.97), (0.42,17.71,0.68,17.97), (0.42,17.71,0.68,17.97), (0.42,17.71,0.68,17.97), (0.95,17.71,1.21,17.97), (0.95,17.71,1.21,17.97), (0.95,17.71,1.21,17.97), (0.95,17.71,1.21,17.97), (0.95,17.71,1.21,17.97), (0.95,17.71,1.21,17.97), (0.95,17.71,1.21,17.97), (0.95,17.71,1.21,17.97), (6.7,18.33,6.96,18.59), (6.7,18.33,6.96,18.59), (6.7,18.33,6.96,18.59), (6.7,18.33,6.96,18.59), (6.7,18.33,6.96,18.59), (6.7,18.33,6.96,18.59), (6.7,18.33,6.96,18.59), (6.7,18.33,6.96,18.59), (7.23,18.33,7.49,18.59), (7.23,18.33,7.49,18.59), (7.23,18.33,7.49,18.59), (7.23,18.33,7.49,18.59), (7.23,18.33,7.49,18.59), (7.23,18.33,7.49,18.59), (7.23,18.33,7.49,18.59), (7.23,18.33,7.49,18.59)])
R(diffn_nfets, metal3, [(2.88,-1.735,4.08,18.825), (8.61,-1.73,9.81,18.825), (4.76,-1.715,5.96,18.86), (6.545,-1.715,7.745,18.895), (0.22,-1.21,1.42,18.84)])
diffn_nfets.add(gdstk.Reference(nfet, (-0.04,-0.2)))
diffn_nfets.add(gdstk.Reference(nfet, (2.76,-0.2)))
diffn_nfets.add(gdstk.Reference(nfet, (6.98,-0.2)))
diffn_nfets.add(gdstk.Reference(nfet, (9.78,-0.2)))
diffn_nfets.add(gdstk.Reference(nfet, (-0.04,7.59), x_reflection=True))
diffn_nfets.add(gdstk.Reference(nfet, (2.76,7.59), x_reflection=True))
diffn_nfets.add(gdstk.Reference(nfet, (6.98,7.59), x_reflection=True))
diffn_nfets.add(gdstk.Reference(nfet, (9.78,7.59), x_reflection=True))
diffn_nfets.add(gdstk.Reference(nfet, (9.78,9.42)))
diffn_nfets.add(gdstk.Reference(nfet, (6.98,9.42)))
diffn_nfets.add(gdstk.Reference(nfet, (2.76,9.42)))
diffn_nfets.add(gdstk.Reference(nfet, (-0.04,9.42)))
diffn_nfets.add(gdstk.Reference(nfet, (-6.95,-0.2)))
diffn_nfets.add(gdstk.Reference(nfet, (-4.15,-0.2)))
diffn_nfets.add(gdstk.Reference(nfet, (-0.04,21.67), x_reflection=True))
diffn_nfets.add(gdstk.Reference(nfet, (2.76,21.67), x_reflection=True))
diffn_nfets.add(gdstk.Reference(nfet, (6.98,21.67), x_reflection=True))
diffn_nfets.add(gdstk.Reference(nfet, (9.78,21.67), x_reflection=True))
diffn_nfets.add(gdstk.Reference(nfet, (-6.95,21.67), x_reflection=True))
diffn_nfets.add(gdstk.Reference(nfet, (-4.15,21.67), x_reflection=True))
diffn_nfets.add(gdstk.Reference(nfet, (13.89,21.67), x_reflection=True))
diffn_nfets.add(gdstk.Reference(nfet, (16.69,21.67), x_reflection=True))
diffn_nfets.add(gdstk.Reference(nfet, (-4.15,-4.66)))
diffn_nfets.add(gdstk.Reference(nfet, (-6.95,-4.66)))
diffn_nfets.add(gdstk.Reference(nfet, (16.69,-4.66)))
diffn_nfets.add(gdstk.Reference(nfet, (13.89,-4.66)))
diffn_nfets.add(gdstk.Reference(nfet, (2.76,-4.66)))
diffn_nfets.add(gdstk.Reference(nfet, (-0.04,-4.66)))
diffn_nfets.add(gdstk.Reference(nfet, (9.78,-4.66)))
diffn_nfets.add(gdstk.Reference(nfet, (6.98,-4.66)))
diffn_nfets.add(gdstk.Reference(nfet, (-0.04,17.21), x_reflection=True))
diffn_nfets.add(gdstk.Reference(nfet, (2.76,17.21), x_reflection=True))
diffn_nfets.add(gdstk.Reference(nfet, (6.98,17.21), x_reflection=True))
diffn_nfets.add(gdstk.Reference(nfet, (9.78,17.21), x_reflection=True))
diffn_nfets.add(gdstk.Reference(nfet, (-6.95,7.59), x_reflection=True))
diffn_nfets.add(gdstk.Reference(nfet, (-4.15,7.59), x_reflection=True))
diffn_nfets.add(gdstk.Reference(nfet, (-4.15,9.42)))
diffn_nfets.add(gdstk.Reference(nfet, (-6.95,9.42)))
diffn_nfets.add(gdstk.Reference(nfet, (-6.95,17.21), x_reflection=True))
diffn_nfets.add(gdstk.Reference(nfet, (-4.15,17.21), x_reflection=True))
diffn_nfets.add(gdstk.Reference(nfet, (13.89,-0.2)))
diffn_nfets.add(gdstk.Reference(nfet, (16.69,-0.2)))
diffn_nfets.add(gdstk.Reference(nfet, (13.89,7.59), x_reflection=True))
diffn_nfets.add(gdstk.Reference(nfet, (16.69,7.59), x_reflection=True))
diffn_nfets.add(gdstk.Reference(nfet, (16.69,9.42)))
diffn_nfets.add(gdstk.Reference(nfet, (13.89,9.42)))
diffn_nfets.add(gdstk.Reference(nfet, (13.89,17.21), x_reflection=True))
diffn_nfets.add(gdstk.Reference(nfet, (16.69,17.21), x_reflection=True))
diffn_nfets.add(gdstk.Label('D1', (-0.235,1.86), layer=34, texttype=10))
diffn_nfets.add(gdstk.Label('G2', (0.855,5.095), layer=34, texttype=10))
diffn_nfets.add(gdstk.Label('G1', (0.855,2.285), layer=34, texttype=10))
diffn_nfets.add(gdstk.Label('D2', (12.345,-0.15), layer=34, texttype=10))
diffn_nfets.add(gdstk.Label('S', (5.405,-0.34), layer=34, texttype=10))
diffn_nfets.add(gdstk.Label('B', (14.275,-1.225), layer=34, texttype=10))

lib.write_gds('DiffN_nfets.gds')
